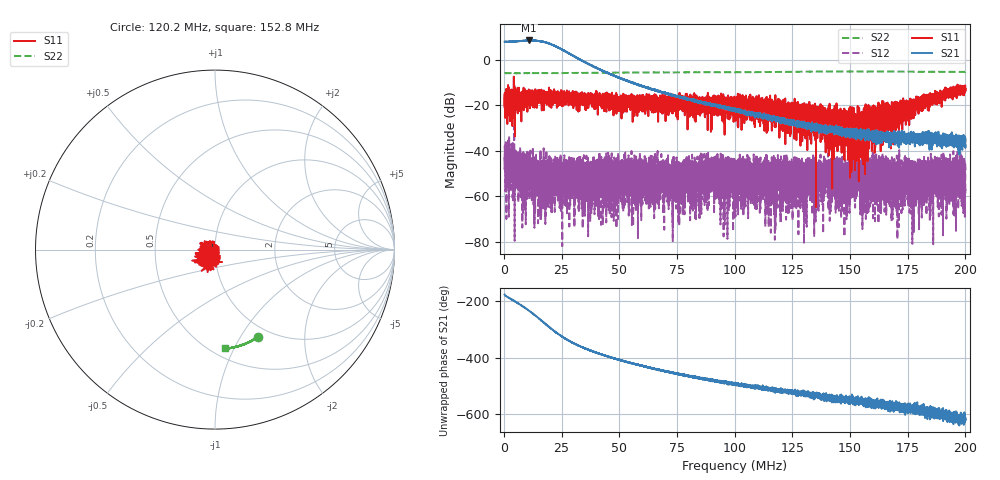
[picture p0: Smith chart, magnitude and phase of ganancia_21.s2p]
# Hz S DB R 50
! CMT, M5065, 19127446, 24.2.4/2
! Date: 11/8/2024 3:57:36 PM
! Data: Format (Calibration Info)
! Freq	S11:dB/Ang(F2)	S21:dB/Ang(F2)	S12:dB/Ang(F2)	S22:dB/Ang(F2)
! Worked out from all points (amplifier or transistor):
!   9000 points, 300 kHz to 200 MHz, reference 50 ohm
!   highest |S21| = 8.5 dB at 10.95 MHz (marker M1)
!   |S21| within 3 dB of that: start of sweep to 23.26 MHz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
!   unconditionally stable (mu >= 1): start of sweep to end of sweep
!   at 33.59 MHz: K = 476.63, MAG = 1.2 dB, |S12| = -62.2 dB
!   at 100.2 MHz: K = 1875.38, MAG = -20.2 dB, |S12| = -52.8 dB
!   at 200 MHz: K = 17783.79, MAG = -35.9 dB, |S12| = -56.8 dB
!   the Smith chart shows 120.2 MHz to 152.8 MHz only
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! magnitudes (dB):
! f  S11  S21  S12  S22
! 300 kHz  -20.2  8.0  -42.9  -5.9
! 8.2 MHz  -14.2  8.4  -63.2  -5.8
! 10.95 MHz  -16.6  8.5  -55.0  -5.8
! 17.1 MHz  -17.3  8.0  -51.2  -5.8
! 33.59 MHz  -17.8  -0.3  -62.2  -5.7
! 47.9 MHz  -16.5  -7.0  -53.1  -5.6
! 53.03 MHz  -17.4  -8.9  -49.5  -5.6
! 66.87 MHz  -20.4  -13.6  -50.7  -5.5
! 76.48 MHz  -17.3  -16.6  -45.5  -5.5
! 85.87 MHz  -18.1  -18.9  -48.6  -5.4
! 100.2 MHz  -17.6  -21.7  -52.8  -5.4
! 133.4 MHz  -30.0  -28.5  -51.0  -5.2
! 152.9 MHz  -38.0  -32.6  -50.0  -5.1
! 156.8 MHz  -22.8  -32.2  -61.0  -5.1
! 166.7 MHz  -25.8  -33.1  -58.9  -5.1
! 176.9 MHz  -22.4  -33.5  -55.5  -5.2
! 183.6 MHz  -18.9  -36.7  -59.3  -5.2
! 185.2 MHz  -15.2  -33.6  -50.6  -5.3
! 188.5 MHz  -16.3  -37.6  -51.8  -5.3
! 194.4 MHz  -13.9  -33.7  -44.3  -5.3
! 198.4 MHz  -12.0  -35.6  -49.8  -5.3
! 200 MHz  -13.6  -37.6  -56.8  -5.3
